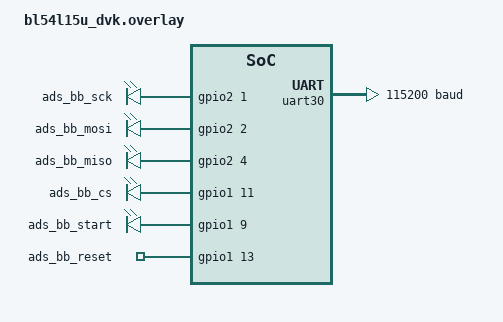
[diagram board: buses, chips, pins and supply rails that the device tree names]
#include <zephyr/dt-bindings/gpio/gpio.h>

&gpio0 { status = "okay"; };
&gpio1 { status = "okay"; };
&gpio2 { status = "okay"; };
&gpiote20 { status = "okay"; };
&gpiote30 { status = "okay"; };

/ {
    chosen {
        zephyr,console = &uart30;
        zephyr,shell-uart = &uart30;
    };

    ads_bitbang_pins: ads-bitbang-pins {
        compatible = "gpio-leds";
        ads_bb_sck: ads-bb-sck { gpios = <&gpio2 1 GPIO_ACTIVE_HIGH>; };
        ads_bb_mosi: ads-bb-mosi { gpios = <&gpio2 2 GPIO_ACTIVE_HIGH>; };
        ads_bb_miso: ads-bb-miso { gpios = <&gpio2 4 GPIO_ACTIVE_HIGH>; };
        ads_bb_cs: ads-bb-cs { gpios = <&gpio1 11 GPIO_ACTIVE_HIGH>; };
        ads_bb_start: ads-bb-start { gpios = <&gpio1 9 GPIO_ACTIVE_HIGH>; };
        ads_bb_reset: ads-bb-reset { gpios = <&gpio1 13 GPIO_ACTIVE_HIGH>; };
    };

    aliases {
        ads-bb-sck = &ads_bb_sck;
        ads-bb-mosi = &ads_bb_mosi;
        ads-bb-miso = &ads_bb_miso;
        ads-bb-cs = &ads_bb_cs;
        ads-bb-start = &ads_bb_start;
        ads-bb-reset = &ads_bb_reset;
    };
};

&uart30 {
    status = "okay";
    current-speed = <115200>;
    pinctrl-0 = <&uart30_default>;
    pinctrl-1 = <&uart30_sleep>;
    pinctrl-names = "default", "sleep";
};





&button1 { status = "disabled"; };  /* P1.09 / MB_TX */
&button2 { status = "disabled"; };  /* P1.08 / MB_RX */


&button0 { status = "disabled"; };  /* P1.13 / ADS /PWDN diagnostic */


